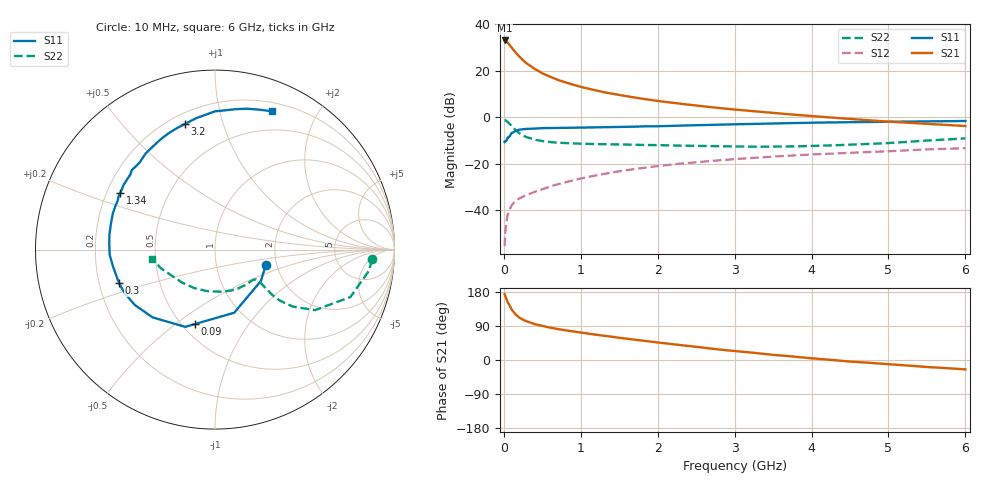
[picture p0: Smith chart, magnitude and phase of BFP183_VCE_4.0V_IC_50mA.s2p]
! Infineon Technologies  Discrete & RF Semiconductors
! BFP183
! VCE = 4.0 V,  IC =  50 mA
! Common Emitter S-Parameters:  Jan 2016
# GHz  S  MA  R  50
!  f  S11  S21  S12  S22
! GHz  MAG  ANG  MAG  ANG  MAG  ANG  MAG  ANG
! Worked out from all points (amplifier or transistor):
!   210 points, 10 MHz to 6 GHz, reference 50 ohm
!   highest |S21| = 33.1 dB at 10 MHz (marker M1)
!   |S21| within 3 dB of that: start of sweep to 100.6 MHz
!   unconditionally stable (mu >= 1): start of sweep to 14.32 MHz; 382.3 MHz to end of sweep
!   at 185 MHz: K = 0.67, MSG = 31.0 dB, |S12| = -35.2 dB
!   at 1.52 GHz: K = 1.31, MAG = 13.0 dB, |S12| = -23.1 dB
!   at 6 GHz: K = 1.05, MAG = 3.4 dB, |S12| = -13.3 dB
!   S11 on the Smith chart (normalised r, x): 10 MHz: 1.75, -0.33; 90 MHz: 0.58, -0.59; 300 MHz: 0.28, -0.16; 1.34 GHz: 0.25, +0.26; 3.2 GHz: 0.26, +0.75; 6 GHz: 0.29, +1.46
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0.01  0.2958 -16.8  45.01 174.0  0.0017 74.8  0.8773 -3.6
0.02  0.3098 -34.3  44.67 168.5  0.0035 79.3  0.8651 -7.9
0.05  0.3677 -73.1  40.84 152.4  0.0081 70.8  0.7994 -19.3
0.09  0.4295 -105.0  33.38 137.7  0.0117 58.2  0.6783 -28.4
0.1  0.4614 -111.1  31.95 133.0  0.0127 56.2  0.6513 -31.2
0.15  0.5132 -132.6  25.15 120.2  0.016 52.0  0.5357 -36.3
0.2  0.5429 -145.3  20.3 111.9  0.018 50.7  0.4587 -38.2
0.26  0.5596 -155.5  16.32 105.1  0.0201 51.8  0.4014 -38.3
0.3  0.5663 -160.7  14.32 101.6  0.0215 52.9  0.3728 -37.7
0.4  0.5756 -170.3  11.02 94.6  0.025 54.9  0.332 -36.6
0.5  0.5876 -177.2  8.856 89.6  0.0285 55.9  0.3086 -35.9
0.6  0.5897 177.1  7.473 85.4  0.0325 58.2  0.2942 -35.6
0.7  0.5938 172.3  6.385 81.7  0.0364 60.0  0.285 -35.8
0.8  0.5961 168.2  5.636 78.3  0.0398 60.5  0.2797 -36.5
1.02  0.604 159.6  4.44 71.6  0.0492 61.0  0.2705 -38.9
1.34  0.6153 149.4  3.38 63.0  0.0626 59.8  0.2637 -44.1
2.02  0.644 130.1  2.23 45.9  0.0901 54.8  0.2528 -58.3
3.1  0.7137 105.6  1.424 21.9  0.1297 44.7  0.2338 -88.7
3.2  0.7191 103.6  1.376 20.0  0.133 43.7  0.2331 -92.0
4.1  0.7724 88.6  1.035 3.0  0.1619 35.0  0.2454 -122.2
5.1  0.8071 76.3  0.792 -12.5  0.1902 26.8  0.2869 -151.3
6  0.8341 67.5  0.651 -24.7  0.2173 17.7  0.3532 -171.3
